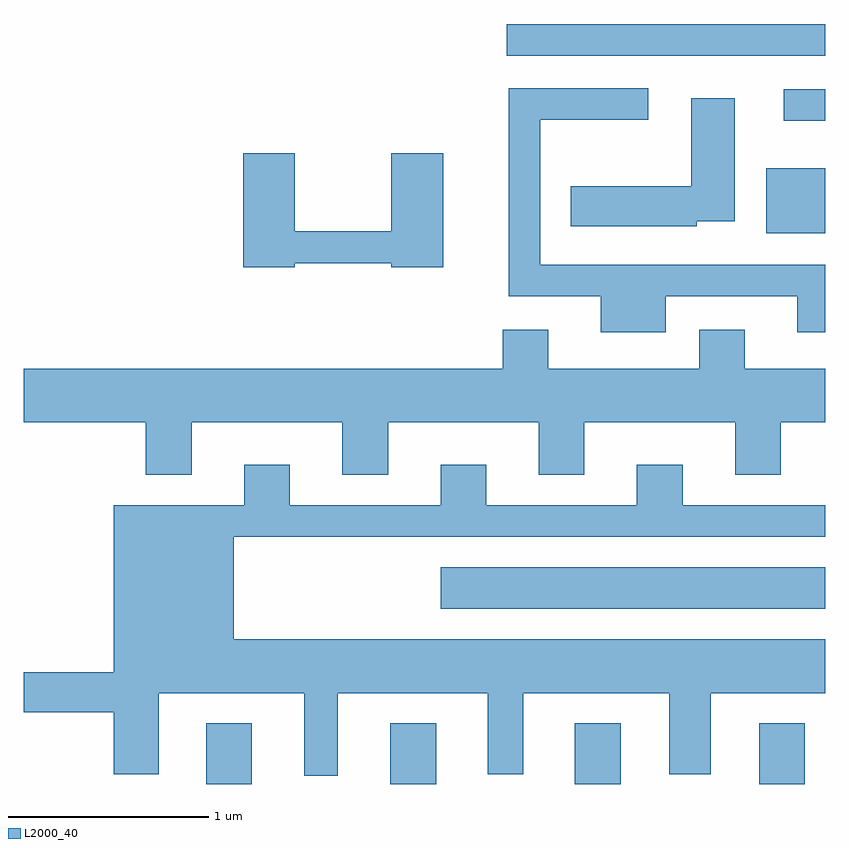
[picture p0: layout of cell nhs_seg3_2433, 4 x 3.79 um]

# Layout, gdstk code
import gdstk
lib = gdstk.Library(unit=1e-6, precision=1e-09)
def R(c, l, rs):  # rectangles x0, y0, x1, y1
    for r in rs: c.add(gdstk.rectangle(r[:2], r[2:], *l))
def A(c, l, x, y, w, h, nx, ny, dx, dy):  # array of equal rectangles
    R(c, l, [(x+i*dx, y+j*dy, x+i*dx+w, y+j*dy+h) for i in range(nx) for j in range(ny)])
def P(c, l, *ps):  # polygons
    for p in ps: c.add(gdstk.Polygon(p, *l))
L2000_40 = (2000, 40)

nhs_seg3_2433 = lib.new_cell('nhs_seg3_2433')
A(nhs_seg3_2433, L2000_40, 256.521, 1221.892, 0.228, 0.302, 4, 1, 0.92, 0)
R(nhs_seg3_2433, L2000_40, [(257.691,1222.766,259.611,1222.974), (259.316,1224.641,259.611,1224.964), (259.403,1225.201,259.611,1225.359), (258.022,1225.526,259.611,1225.684)])
P(nhs_seg3_2433, L2000_40, [(258.814,1224.326),(259.471,1224.326),(259.471,1224.146),(259.611,1224.146),(259.611,1224.484),(258.189,1224.484),(258.189,1225.206),(258.728,1225.206),(258.728,1225.364),(258.031,1225.364),(258.031,1224.326),(258.491,1224.326),(258.491,1224.146),(258.814,1224.146)],
  [(258.969,1224.701),(259.159,1224.701),(259.159,1225.314),(258.941,1225.314),(258.941,1224.874),(258.341,1224.874),(258.341,1224.676),(258.969,1224.676)],
  [(256.964,1224.491),(257.446,1224.491),(257.446,1224.471),(257.704,1224.471),(257.704,1225.039),(257.446,1225.039),(257.446,1224.649),(256.964,1224.649),(256.964,1225.039),(256.706,1225.039),(256.706,1224.471),(256.964,1224.471)],
  [(256.449,1223.696),(257.201,1223.696),(257.201,1223.436),(257.429,1223.436),(257.429,1223.696),(258.181,1223.696),(258.181,1223.436),(258.409,1223.436),(258.409,1223.696),(259.161,1223.696),(259.161,1223.436),(259.389,1223.436),(259.389,1223.696),(259.611,1223.696),(259.611,1223.964),(259.209,1223.964),(259.209,1224.159),(258.981,1224.159),(258.981,1223.964),(258.229,1223.964),(258.229,1224.159),(258.001,1224.159),(258.001,1223.964),(255.611,1223.964),(255.611,1223.696),(256.221,1223.696),(256.221,1223.436),(256.449,1223.436)],
  [(257.179,1222.346),(257.926,1222.346),(257.926,1221.941),(258.104,1221.941),(258.104,1222.346),(258.831,1222.346),(258.831,1221.941),(259.039,1221.941),(259.039,1222.346),(259.611,1222.346),(259.611,1222.614),(256.659,1222.614),(256.659,1223.126),(259.611,1223.126),(259.611,1223.284),(258.899,1223.284),(258.899,1223.484),(258.671,1223.484),(258.671,1223.284),(257.919,1223.284),(257.919,1223.484),(257.691,1223.484),(257.691,1223.284),(256.939,1223.284),(256.939,1223.484),(256.711,1223.484),(256.711,1223.284),(256.061,1223.284),(256.061,1222.449),(255.611,1222.449),(255.611,1222.251),(256.061,1222.251),(256.061,1221.941),(256.284,1221.941),(256.284,1222.346),(257.011,1222.346),(257.011,1221.933),(257.179,1221.933)])

lib.write_gds('nhs_seg3_2433.gds')
